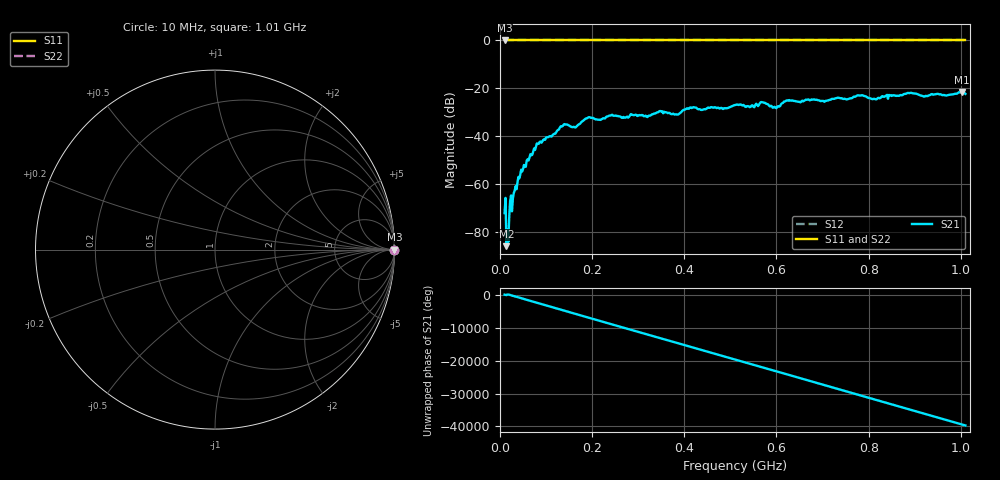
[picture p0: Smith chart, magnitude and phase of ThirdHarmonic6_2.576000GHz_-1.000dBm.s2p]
! 8/17/2025 5:25:34 AM
! C:\ANRITSUVNA\TEMP\TEMP.S2P
! CHANNEL.1
! TR.MEASUREMENT
! RAW.DATA
! RF.CORRECTION.OFF
! AVERAGING.OFF
! IF.BANDWIDTH: 5KHZ
! SWEEPTYPE:  FREQ.SWEEP(Linear)
! Reference Plane Port Info
! PORT:  PORT1  PORT2
! DISTANCE:  0  m  0  m
! TIME:  0  s  0  s
! PHASE.OFFSET:  0  deg.  0  deg.
! LOSS:  0  dB  0  dB
! REF.LOSS:  0  dB  0  dB
! REF.FREQ:  0  Hz  0  Hz
! Power Info
! POWER:  -20  dBm  -20  dBm
! EFF.POWER:  -20  dBm  -20  dBm
! SOURCE.ATTEN:  0  dB  0  dB
! TEST.ATTEN:  0  dB  0  dB
# GHZ S RI R 50.0
! FREQ.GHZ  S11RE  S11IM  S21RE  S21IM  S12RE  S12IM  S22RE  S22IM
!; PortSelection: Port_12
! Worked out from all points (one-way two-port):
!   501 points, 10 MHz to 1.01 GHz, reference 50 ohm
!   highest |S21| = -21.55 dB at 1.002 GHz (marker M1); lowest = -85.9 dB at 14 MHz (marker M2)
!   lowest |S11| = 0.0 dB at 10 MHz (marker M3)
!   |S11| at or under -10 dB: nowhere
!   |S22| runs from 0.0 to 0.0 dB; largest |S21 - S12| = 1.1
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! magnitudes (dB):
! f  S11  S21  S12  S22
! 10 MHz  0.0  -72.1  0.0  0.0
! 14 MHz  0.0  -85.9  0.0  0.0
! 18 MHz  0.0  -84.2  0.0  0.0
! 26 MHz  0.0  -71.3  0.0  0.0
! 42 MHz  0.0  -57.6  0.0  0.0
! 82 MHz  0.0  -43.2  0.0  0.0
! 136 MHz  0.0  -35.8  0.0  0.0
! 162 MHz  0.0  -36.2  0.0  0.0
! 178 MHz  0.0  -33.9  0.0  0.0
! 192 MHz  0.0  -32.1  0.0  0.0
! 322 MHz  0.0  -31.5  0.0  0.0
! 344 MHz  0.0  -29.9  0.0  0.0
! 384 MHz  0.0  -30.9  0.0  0.0
! 416 MHz  0.0  -28.2  0.0  0.0
! 510 MHz  0.0  -27.0  0.0  0.0
! 570 MHz  0.0  -25.8  0.0  0.0
! 596 MHz  0.0  -27.7  0.0  0.0
! 624 MHz  0.0  -25.0  0.0  0.0
! 678 MHz  0.0  -24.7  0.0  0.0
! 844 MHz  0.0  -22.8  0.0  0.0
! 1.002 GHz  0.0  -21.6  0.0  0.0
! 1.01 GHz  0.0  -22.3  0.0  0.0
